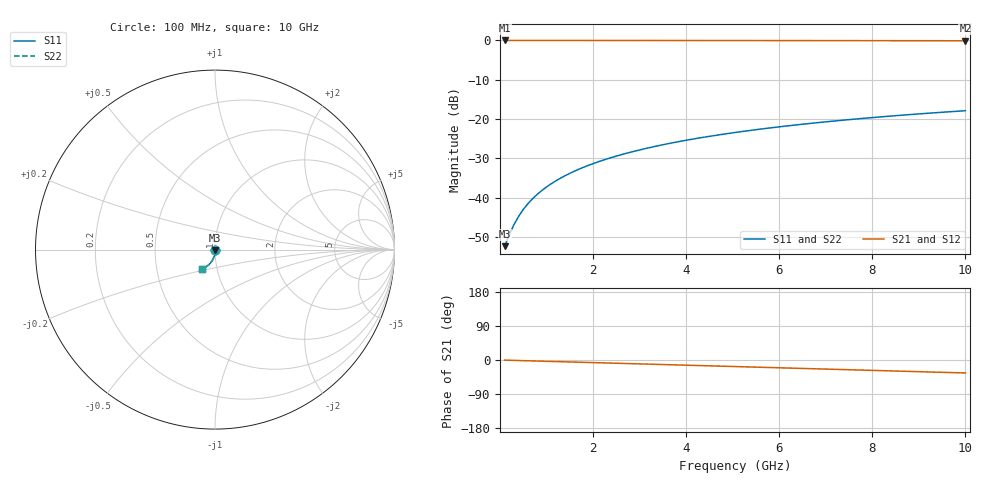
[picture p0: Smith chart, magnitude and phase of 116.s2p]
# Hz S RI R 50.00
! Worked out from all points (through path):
!   100 points, 100 MHz to 10 GHz, reference 50 ohm
!   highest |S21| = -0.02 dB at 100 MHz (marker M1); lowest = -0.1 dB at 10 GHz (marker M2)
!   group delay of S21, straight-line fit = 9.5 ps
!   lowest |S11| = -52.4 dB at 100 MHz (marker M3), VSWR 1.00, Z = 50.2 - j0.137 ohm
!   |S11| at or under -10 dB: start of sweep to end of sweep
!   |S22| runs from -52.4 to -17.9 dB; largest |S21 - S12| = 0
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1e8  0.00199 -0.00136  0.998 -0.00597  0.998 -0.00597  0.00199 -0.00136
2e8  0.00197 -0.00273  0.9979 -0.0119  0.9979 -0.0119  0.00197 -0.00273
3e8  0.00194 -0.00409  0.9978 -0.0179  0.9978 -0.0179  0.00194 -0.00409
4e8  0.00189 -0.00545  0.9977 -0.0239  0.9977 -0.0239  0.00189 -0.00545
5e8  0.00182 -0.00681  0.9975 -0.0298  0.9975 -0.0298  0.00182 -0.00681
6e8  0.00173 -0.00817  0.9973 -0.0358  0.9973 -0.0358  0.00173 -0.00817
7e8  0.00163 -0.00953  0.997 -0.0417  0.997 -0.0417  0.00163 -0.00953
9e8  0.00137 -0.0122  0.9964 -0.0537  0.9964 -0.0537  0.00137 -0.0122
1e9  0.00122 -0.0136  0.996 -0.0596  0.996 -0.0596  0.00122 -0.0136
1.2e9  0.000865 -0.0163  0.9952 -0.0715  0.9952 -0.0715  0.000865 -0.0163
1.5e9  0.000211 -0.0203  0.9936 -0.0894  0.9936 -0.0894  0.000211 -0.0203
1.8e9  -0.000589 -0.0244  0.9918 -0.1072  0.9918 -0.1072  -0.000589 -0.0244
2.1e9  -0.00153 -0.0283  0.9896 -0.1249  0.9896 -0.1249  -0.00153 -0.0283
2.5e9  -0.00301 -0.0336  0.9861 -0.1485  0.9861 -0.1485  -0.00301 -0.0336
2.9e9  -0.00474 -0.0388  0.982 -0.172  0.982 -0.172  -0.00474 -0.0388
3.4e9  -0.00724 -0.0451  0.9762 -0.2012  0.9762 -0.2012  -0.00724 -0.0451
4.2e9  -0.012 -0.0549  0.9648 -0.2475  0.9648 -0.2475  -0.012 -0.0549
5.1e9  -0.0185 -0.0654  0.9494 -0.2988  0.9494 -0.2988  -0.0185 -0.0654
5.9e9  -0.0251 -0.0741  0.9333 -0.3435  0.9333 -0.3435  -0.0251 -0.0741
6.7e9  -0.0326 -0.082  0.915 -0.3873  0.915 -0.3873  -0.0326 -0.082
8.4e9  -0.0507 -0.0965  0.8692 -0.4769  0.8692 -0.4769  -0.0507 -0.0965
1e10  -0.07 -0.1064  0.818 -0.556  0.818 -0.556  -0.07 -0.1064
